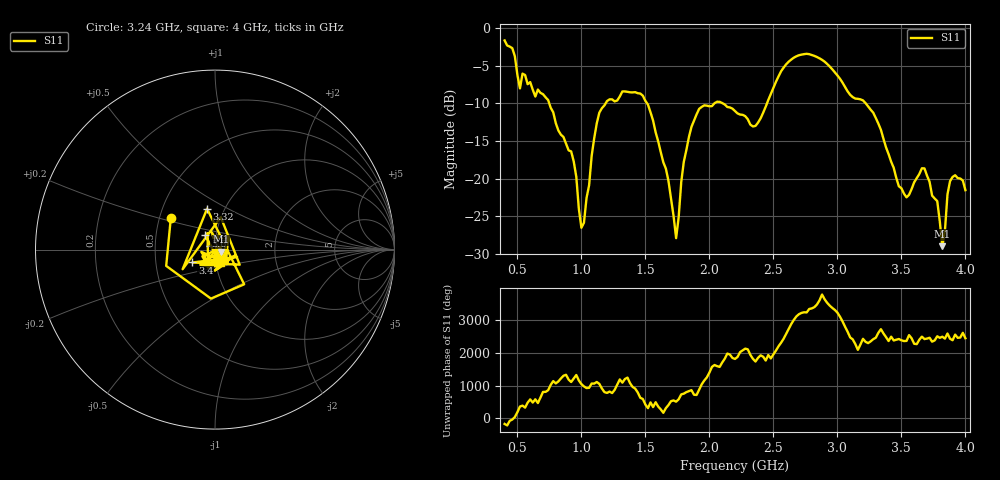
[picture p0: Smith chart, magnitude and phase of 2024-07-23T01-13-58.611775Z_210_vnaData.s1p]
!Created with skrf (http://scikit-rf.org).
# Hz S RI R 50.0
!freq ReS11 ImS11
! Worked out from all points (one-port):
!   181 points, 400 MHz to 4 GHz, reference 50 ohm
!   lowest |S11| = -29.0 dB at 3.82 GHz (marker M1), VSWR 1.07, Z = 53.5 - j1.21 ohm
!   |S11| at or under -10 dB: 748.5 MHz to 1.19 GHz (441 MHz wide, 45.5 % of centre); 1.513 GHz to 2.039 GHz (526.5 MHz wide, 29.6 % of centre); 3.221 GHz to end of sweep (the widest 3 of 4)
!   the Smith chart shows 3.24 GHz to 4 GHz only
!   S11 on the Smith chart (normalised r, x): 3.24 GHz: 0.57, +0.22; 3.32 GHz: 0.83, +0.40; 3.4 GHz: 0.77, -0.11; 3.6 GHz: 0.89, +0.14; 4 GHz: 1.06, -0.16
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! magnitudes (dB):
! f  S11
! 400 MHz  -1.7
! 520 MHz  -8.0
! 700 MHz  -8.8
! 860 MHz  -14.5
! 940 MHz  -17.7
! 1 GHz  -26.5
! 1.14 GHz  -11.2
! 1.3 GHz  -9.1
! 1.52 GHz  -10.2
! 1.66 GHz  -18.7
! 1.74 GHz  -27.9
! 1.76 GHz  -25.1
! 1.8 GHz  -17.8
! 1.92 GHz  -10.7
! 2.2 GHz  -11.0
! 2.36 GHz  -13.0
! 2.66 GHz  -3.9
! 3.1 GHz  -8.9
! 3.24 GHz  -10.4
! 3.32 GHz  -12.7
! 3.4 GHz  -16.7
! 3.56 GHz  -22.1
! 3.6 GHz  -20.5
! 3.68 GHz  -18.6
! 3.78 GHz  -23.0
! 3.82 GHz  -29.0
! 3.88 GHz  -20.3
! 4 GHz  -21.5
